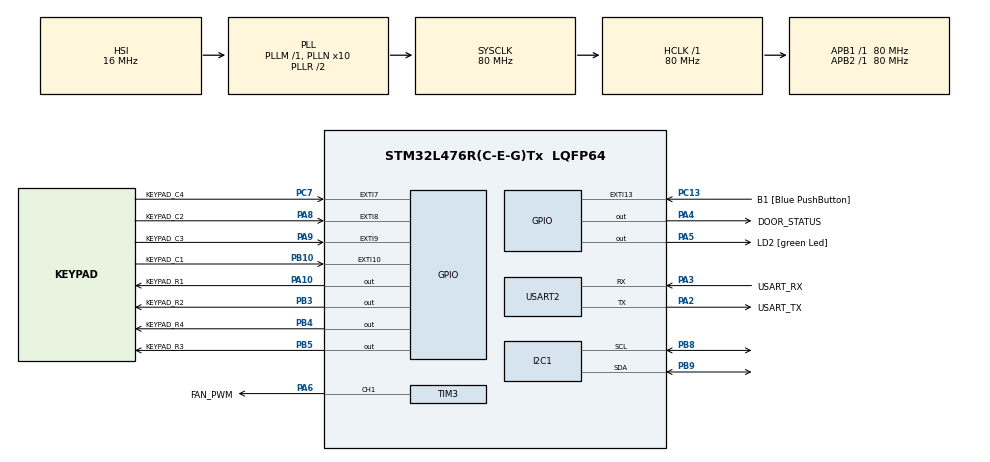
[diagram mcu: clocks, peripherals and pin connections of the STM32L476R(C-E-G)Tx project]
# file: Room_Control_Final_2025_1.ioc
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Dma.Request0=TIM3_CH1/TRIG
Dma.TIM3_CH1/TRIG.0.Direction=DMA_MEMORY_TO_PERIPH
Dma.TIM3_CH1/TRIG.0.Instance=DMA1_Channel6
Dma.TIM3_CH1/TRIG.0.MemDataAlignment=DMA_MDATAALIGN_HALFWORD
Dma.TIM3_CH1/TRIG.0.MemInc=DMA_MINC_ENABLE
Dma.TIM3_CH1/TRIG.0.Mode=DMA_NORMAL
Dma.TIM3_CH1/TRIG.0.PeriphDataAlignment=DMA_PDATAALIGN_HALFWORD
Dma.TIM3_CH1/TRIG.0.PeriphInc=DMA_PINC_DISABLE
Dma.TIM3_CH1/TRIG.0.Priority=DMA_PRIORITY_LOW
I2C1.Timing=0x10909CEC
Mcu.Family=STM32L4
Mcu.Name=STM32L476R(C-E-G)Tx
Mcu.Package=LQFP64
NVIC.DMA1_Channel6_IRQn=true\:0\:0\:false\:false\:true\:false\:true\:true
NVIC.EXTI15_10_IRQn=true\:0\:0\:false\:false\:true\:true\:true\:true
NVIC.EXTI9_5_IRQn=true\:0\:0\:false\:false\:true\:true\:true\:true
NVIC.PriorityGroup=NVIC_PRIORITYGROUP_4
NVIC.USART2_IRQn=true\:0\:0\:false\:false\:true\:true\:true\:true
PA10.GPIO_Label=KEYPAD_R1
PA10.Signal=GPIO_Output
PA13\ (JTMS-SWDIO).GPIO_Label=TMS
PA13\ (JTMS-SWDIO).Mode=Serial_Wire
PA13\ (JTMS-SWDIO).Signal=SYS_JTMS-SWDIO
PA14\ (JTCK-SWCLK).GPIO_Label=TCK
PA14\ (JTCK-SWCLK).Mode=Serial_Wire
PA14\ (JTCK-SWCLK).Signal=SYS_JTCK-SWCLK
PA2.GPIO_Label=USART_TX
PA2.GPIO_Mode=GPIO_MODE_AF_PP
PA2.GPIO_PuPd=GPIO_NOPULL
PA2.GPIO_Speed=GPIO_SPEED_FREQ_VERY_HIGH
PA2.Mode=Asynchronous
PA2.Signal=USART2_TX
PA3.GPIO_Label=USART_RX
PA3.GPIO_Mode=GPIO_MODE_AF_PP
PA3.GPIO_PuPd=GPIO_NOPULL
PA3.GPIO_Speed=GPIO_SPEED_FREQ_VERY_HIGH
PA3.Mode=Asynchronous
PA3.Signal=USART2_RX
PA4.GPIO_Label=DOOR_STATUS
PA4.Signal=GPIO_Output
PA5.GPIO_Label=LD2 [green Led]
PA5.GPIO_ModeDefaultOutputPP=GPIO_MODE_OUTPUT_PP
PA5.GPIO_PuPd=GPIO_NOPULL
PA5.GPIO_Speed=GPIO_SPEED_FREQ_LOW
PA5.Signal=GPIO_Output
PA6.GPIO_Label=FAN_PWM
PA6.Signal=S_TIM3_CH1
PA8.GPIO_Label=KEYPAD_C2
PA8.Signal=GPXTI8
PA9.GPIO_Label=KEYPAD_C3
PA9.Signal=GPXTI9
PB10.GPIO_Label=KEYPAD_C1
PB10.Signal=GPXTI10
PB3\ (JTDO-TRACESWO).GPIO_Label=KEYPAD_R2
PB3\ (JTDO-TRACESWO).Signal=GPIO_Output
PB4\ (NJTRST).GPIO_Label=KEYPAD_R4
PB4\ (NJTRST).Signal=GPIO_Output
PB5.GPIO_Label=KEYPAD_R3
PB5.Signal=GPIO_Output
PB8.Mode=I2C
PB8.Signal=I2C1_SCL
PB9.Mode=I2C
PB9.Signal=I2C1_SDA
PC13.GPIO_Label=B1 [Blue PushButton]
PC13.GPIO_ModeDefaultEXTI=GPIO_MODE_IT_FALLING
PC13.GPIO_PuPd=GPIO_NOPULL
PC13.Signal=GPXTI13
PC14-OSC32_IN\ (PC14).Mode=LSE-External-Oscillator
PC14-OSC32_IN\ (PC14).Signal=RCC_OSC32_IN
PC15-OSC32_OUT\ (PC15).Mode=LSE-External-Oscillator
PC15-OSC32_OUT\ (PC15).Signal=RCC_OSC32_OUT
PC7.GPIO_Label=KEYPAD_C4
PC7.Signal=GPXTI7
PH0-OSC_IN\ (PH0).Signal=RCC_OSC_IN
PH1-OSC_OUT\ (PH1).Signal=RCC_OSC_OUT
ProjectManager.HeapSize=0x200
ProjectManager.StackSize=0x400
ProjectManager.TargetToolchain=CMake
RCC.ADCFreq_Value=64000000
RCC.AHBFreq_Value=80000000
RCC.APB1Freq_Value=80000000
RCC.APB1TimFreq_Value=80000000
RCC.APB2Freq_Value=80000000
RCC.APB2TimFreq_Value=80000000
RCC.CortexFreq_Value=80000000
RCC.HCLKFreq_Value=80000000
RCC.HSE_VALUE=8000000
RCC.HSI_VALUE=16000000
RCC.MSI_VALUE=4000000
RCC.PLLN=10
RCC.PLLSourceVirtual=RCC_PLLSOURCE_HSI
RCC.PREFETCH_ENABLE=1
RCC.SYSCLKFreq_VALUE=80000000
RCC.SYSCLKSource=RCC_SYSCLKSOURCE_PLLCLK
RCC.USBFreq_Value=64000000
RCC.VCOOutputFreq_Value=160000000
SH.S_TIM3_CH1.0=TIM3_CH1,PWM Generation1 CH1
TIM3.Channel-PWM\ Generation1\ CH1=TIM_CHANNEL_1
TIM3.Period=100 - 1
TIM3.Prescaler=8000 - 1
USART2.VirtualMode-Asynchronous=VM_ASYNC
board=NUCLEO-L476RG

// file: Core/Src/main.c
/* USER CODE BEGIN Header */
/**
  ******************************************************************************
  * @file           : main.c
  * @brief          : Main program body
  ******************************************************************************
  * @attention
  *
  * Copyright (c) 2025 STMicroelectronics.
  * All rights reserved.
  *
  * This software is licensed under terms that can be found in the LICENSE file
  * in the root directory of this software component.
  * If no LICENSE file comes with this software, it is provided AS-IS.
  *
  ******************************************************************************
  */
/* USER CODE END Header */
#include "main.h"

/* USER CODE BEGIN Includes */
#include "led.h"
#include "keypad.h"
#include "room_control.h"
#include <stdio.h>
#include <stdlib.h> // Para rand() en la simulación
#include <stdbool.h>
#include "ssd1306.h"
#include "ssd1306_fonts.h"
#include "temp_sensor.h"
/* USER CODE END Includes */

/* USER CODE BEGIN PD */
#define UART_RX_BUFFER_SIZE 64
/* USER CODE END PD */

I2C_HandleTypeDef hi2c1;

TIM_HandleTypeDef htim3;
DMA_HandleTypeDef hdma_tim3_ch1_trig;

UART_HandleTypeDef huart2;
// ADC_HandleTypeDef hadc1; // Descomenta si usas ADC para el sensor de temperatura

/* USER CODE BEGIN PV */

// --- Instancia del sistema de control ---
room_control_t room_system;

// --- Variables para hardware y eventos ---
led_handle_t heartbeat_led = {
    .port = LD2_GPIO_Port,
    .pin = LD2_Pin
};

keypad_handle_t keypad = {
    .row_ports = {KEYPAD_R1_GPIO_Port, KEYPAD_R2_GPIO_Port, KEYPAD_R3_GPIO_Port, KEYPAD_R4_GPIO_Port},
    .row_pins  = {KEYPAD_R1_Pin, KEYPAD_R2_Pin, KEYPAD_R3_Pin, KEYPAD_R4_Pin},
    .col_ports = {KEYPAD_C1_GPIO_Port, KEYPAD_C2_GPIO_Port, KEYPAD_C3_GPIO_Port, KEYPAD_C4_GPIO_Port},
    .col_pins  = {KEYPAD_C1_Pin, KEYPAD_C2_Pin, KEYPAD_C3_Pin, KEYPAD_C4_Pin}
};
volatile uint16_t keypad_interrupt_pin = 0;

// --- Buffers y flags para comunicación UART no bloqueante ---
uint8_t uart_rx_byte;
uint8_t uart_rx_buffer[UART_RX_BUFFER_SIZE];
volatile uint8_t uart_rx_index = 0;
volatile bool uart_line_ready = false;

/* USER CODE END PV */

void SystemClock_Config(void);
static void MX_GPIO_Init(void);
static void MX_DMA_Init(void);
static void MX_USART2_UART_Init(void);
static void MX_I2C1_Init(void);
static void MX_TIM3_Init(void);
static void MX_ADC1_Init(void);
/* USER CODE BEGIN PFP */
void heartbeat(void);
/* USER CODE END PFP */

/* USER CODE BEGIN 0 */

// --- CALLBACKS DE INTERRUPCIÓN ---

void HAL_GPIO_EXTI_Callback(uint16_t GPIO_Pin)
{
  // Verifica si la interrupción proviene de alguno de los pines de columna del teclado
  if (GPIO_Pin == KEYPAD_C1_Pin || GPIO_Pin == KEYPAD_C2_Pin || GPIO_Pin == KEYPAD_C3_Pin || GPIO_Pin == KEYPAD_C4_Pin) {
    keypad_interrupt_pin = GPIO_Pin;
  }
}

void HAL_UART_RxCpltCallback(UART_HandleTypeDef *huart)
{
  if (huart->Instance == USART2) {
    if (uart_rx_index < UART_RX_BUFFER_SIZE - 1) {
      // Si el carácter es un salto de línea, la línea está completa
      if (uart_rx_byte == '\n') {
        uart_rx_buffer[uart_rx_index] = '\0'; // Terminar la cadena
        uart_line_ready = true;
        uart_rx_index = 0;
      } else {
        uart_rx_buffer[uart_rx_index++] = uart_rx_byte;
      }
    } else {
      // Buffer overflow, reiniciar el índice
      uart_rx_index = 0;
    }
    // Reactivar la recepción de 1 byte por interrupción
    HAL_UART_Receive_IT(&huart2, &uart_rx_byte, 1);
  }
}

void heartbeat(void)
{
  static uint32_t last_toggle = 0;
  if (HAL_GetTick() - last_toggle >= 500) { // Toggle every 500 ms
    led_toggle(&heartbeat_led); // Toggle the heartbeat LED
    last_toggle = HAL_GetTick();
  }
}

/* USER CODE END 0 */

int main(void)
{

  /* MCU Configuration--------------------------------------------------------*/

  /* Reset of all peripherals, Initializes the Flash interface and the Systick. */
  HAL_Init();

  /* Configure the system clock */
  SystemClock_Config();

  /* Initialize all configured peripherals */
  MX_GPIO_Init();
  MX_DMA_Init();
  MX_USART2_UART_Init();
  MX_I2C1_Init();
  MX_TIM3_Init();
  // MX_ADC1_Init(); // Descomenta si usas ADC

  /* USER CODE BEGIN 2 */

  // --- INICIALIZACIÓN DE MÓDULOS Y DRIVERS ---
  led_init(&heartbeat_led);
  ssd1306_Init();
  keypad_init(&keypad);
  temp_sensor_init(&hadc1);

  // Inicializa el módulo de control principal, pasándole el handle del timer del ventilador
  room_control_init(&room_system, &htim3);

  // Iniciar recepción UART por interrupción (1 byte a la vez)
  HAL_UART_Receive_IT(&huart2, &uart_rx_byte, 1);

  // Mensaje de bienvenida a la consola de depuración
  HAL_UART_Transmit(&huart2, (uint8_t *)"Sistema de Control de Sala Iniciado\r\n", 37, HAL_MAX_DELAY);

  // (Opcional) Iniciar el ADC para el sensor de temperatura
  // HAL_ADC_Start(&hadc1);

  /* USER CODE END 2 */

  /* Infinite loop */
  /* USER CODE BEGIN WHILE */
  uint32_t last_temp_read_time = 0;

  while (1) {
    heartbeat(); // Llama al parpadeo del LED de estado

    // 1. GESTIONAR ENTRADAS ASÍNCRONAS (EVENTOS)
    // Evento: Se presionó una tecla del teclado matricial
    if (keypad_interrupt_pin != 0) {
      char key = keypad_scan(&keypad, keypad_interrupt_pin);
      keypad_interrupt_pin = 0; // Limpiar el flag de interrupción
      if (key != '\0') {
        room_control_process_key(&room_system, key);
      }
    }

    // Evento: Se recibió una línea completa por UART
    if (uart_line_ready) {
      room_control_process_command(&room_system, (char*)uart_rx_buffer);
      uart_line_ready = false; // Consumir el evento
    }

    // 2. GESTIONAR TAREAS PERIÓDICAS (NO BLOQUEANTES)
    if (HAL_GetTick() - last_temp_read_time >= 2000) { // Cada 2 segundos
        last_temp_read_time = HAL_GetTick();

        // --- LECTURA DE TEMPERATURA USANDO EL MÓDULO ---
        float current_temp = temp_sensor_read();
        room_control_set_temperature(&room_system, current_temp);
    }

    // 3. ACTUALIZAR EL ESTADO DEL SISTEMA
    // Esta función maneja los timeouts y actualiza la pantalla si es necesario.
    room_control_update(&room_system);

    /* USER CODE END WHILE */

  }
}

void SystemClock_Config(void)
{
  RCC_OscInitTypeDef RCC_OscInitStruct = {0};
  RCC_ClkInitTypeDef RCC_ClkInitStruct = {0};

  /** Configure the main internal regulator output voltage
  */
  if (HAL_PWREx_ControlVoltageScaling(PWR_REGULATOR_VOLTAGE_SCALE1) != HAL_OK)
  {
    Error_Handler();
  }

  /** Initializes the RCC Oscillators according to the specified parameters
  * in the RCC_OscInitTypeDef structure.
  */
  RCC_OscInitStruct.OscillatorType = RCC_OSCILLATORTYPE_HSI;
  RCC_OscInitStruct.HSIState = RCC_HSI_ON;
  RCC_OscInitStruct.HSICalibrationValue = RCC_HSICALIBRATION_DEFAULT;
  RCC_OscInitStruct.PLL.PLLState = RCC_PLL_ON;
  RCC_OscInitStruct.PLL.PLLSource = RCC_PLLSOURCE_HSI;
  RCC_OscInitStruct.PLL.PLLM = 1;
  RCC_OscInitStruct.PLL.PLLN = 10;
  RCC_OscInitStruct.PLL.PLLP = RCC_PLLP_DIV7;
  RCC_OscInitStruct.PLL.PLLQ = RCC_PLLQ_DIV2;
  RCC_OscInitStruct.PLL.PLLR = RCC_PLLR_DIV2;
  if (HAL_RCC_OscConfig(&RCC_OscInitStruct) != HAL_OK)
  {
    Error_Handler();
  }

  /** Initializes the CPU, AHB and APB buses clocks
  */
  RCC_ClkInitStruct.ClockType = RCC_CLOCKTYPE_HCLK|RCC_CLOCKTYPE_SYSCLK
                              |RCC_CLOCKTYPE_PCLK1|RCC_CLOCKTYPE_PCLK2;
  RCC_ClkInitStruct.SYSCLKSource = RCC_SYSCLKSOURCE_PLLCLK;
  RCC_ClkInitStruct.AHBCLKDivider = RCC_SYSCLK_DIV1;
  RCC_ClkInitStruct.APB1CLKDivider = RCC_HCLK_DIV1;
  RCC_ClkInitStruct.APB2CLKDivider = RCC_HCLK_DIV1;

  if (HAL_RCC_ClockConfig(&RCC_ClkInitStruct, FLASH_LATENCY_4) != HAL_OK)
  {
    Error_Handler();
  }
}

static void MX_I2C1_Init(void)
{

  hi2c1.Instance = I2C1;
  hi2c1.Init.Timing = 0x10909CEC;
  hi2c1.Init.OwnAddress1 = 0;
  hi2c1.Init.AddressingMode = I2C_ADDRESSINGMODE_7BIT;
  hi2c1.Init.DualAddressMode = I2C_DUALADDRESS_DISABLE;
  hi2c1.Init.OwnAddress2 = 0;
  hi2c1.Init.OwnAddress2Masks = I2C_OA2_NOMASK;
  hi2c1.Init.GeneralCallMode = I2C_GENERALCALL_DISABLE;
  hi2c1.Init.NoStretchMode = I2C_NOSTRETCH_DISABLE;
  if (HAL_I2C_Init(&hi2c1) != HAL_OK)
  {
    Error_Handler();
  }

  /** Configure Analogue filter
  */
  if (HAL_I2CEx_ConfigAnalogFilter(&hi2c1, I2C_ANALOGFILTER_ENABLE) != HAL_OK)
  {
    Error_Handler();
  }

  /** Configure Digital filter
  */
  if (HAL_I2CEx_ConfigDigitalFilter(&hi2c1, 0) != HAL_OK)
  {
    Error_Handler();
  }

}

static void MX_TIM3_Init(void)
{

  TIM_MasterConfigTypeDef sMasterConfig = {0};
  TIM_OC_InitTypeDef sConfigOC = {0};

  htim3.Instance = TIM3;
  htim3.Init.Prescaler = 80 - 1; // Prescaler ajustado para una mejor resolución de PWM con clock de 80MHz
  htim3.Init.CounterMode = TIM_COUNTERMODE_UP;
  htim3.Init.Period = 1000 - 1; // Período de 1000 para un control porcentual más fácil (0-999)
  htim3.Init.ClockDivision = TIM_CLOCKDIVISION_DIV1;
  htim3.Init.AutoReloadPreload = TIM_AUTORELOAD_PRELOAD_ENABLE; // Habilitar preload para cambios de PWM suaves
  if (HAL_TIM_PWM_Init(&htim3) != HAL_OK)
  {
    Error_Handler();
  }
  sMasterConfig.MasterOutputTrigger = TIM_TRGO_RESET;
  sMasterConfig.MasterSlaveMode = TIM_MASTERSLAVEMODE_DISABLE;
  if (HAL_TIMEx_MasterConfigSynchronization(&htim3, &sMasterConfig) != HAL_OK)
  {
    Error_Handler();
  }
  sConfigOC.OCMode = TIM_OCMODE_PWM1;
  sConfigOC.Pulse = 0;
  sConfigOC.OCPolarity = TIM_OCPOLARITY_HIGH;
  sConfigOC.OCFastMode = TIM_OCFAST_DISABLE;
  if (HAL_TIM_PWM_ConfigChannel(&htim3, &sConfigOC, TIM_CHANNEL_1) != HAL_OK)
  {
    Error_Handler();
  }
  HAL_TIM_MspPostInit(&htim3);

}

static void MX_USART2_UART_Init(void)
{

  huart2.Instance = USART2;
  huart2.Init.BaudRate = 115200;
  huart2.Init.WordLength = UART_WORDLENGTH_8B;
  huart2.Init.StopBits = UART_STOPBITS_1;
  huart2.Init.Parity = UART_PARITY_NONE;
  huart2.Init.Mode = UART_MODE_TX_RX;
  huart2.Init.HwFlowCtl = UART_HWCONTROL_NONE;
  huart2.Init.OverSampling = UART_OVERSAMPLING_16;
  huart2.Init.OneBitSampling = UART_ONE_BIT_SAMPLE_DISABLE;
  huart2.AdvancedInit.AdvFeatureInit = UART_ADVFEATURE_NO_INIT;
  if (HAL_UART_Init(&huart2) != HAL_OK)
  {
    Error_Handler();
  }

}

static void MX_DMA_Init(void)
{

  /* DMA controller clock enable */
  __HAL_RCC_DMA1_CLK_ENABLE();

  /* DMA interrupt init */
  /* DMA1_Channel6_IRQn interrupt configuration */
  HAL_NVIC_SetPriority(DMA1_Channel6_IRQn, 0, 0);
  HAL_NVIC_EnableIRQ(DMA1_Channel6_IRQn);

}

static void MX_GPIO_Init(void)
{
  GPIO_InitTypeDef GPIO_InitStruct = {0};

  /* GPIO Ports Clock Enable */
  __HAL_RCC_GPIOC_CLK_ENABLE();
  __HAL_RCC_GPIOH_CLK_ENABLE();
  __HAL_RCC_GPIOA_CLK_ENABLE();
  __HAL_RCC_GPIOB_CLK_ENABLE();

  /*Configure GPIO pin Output Level */
  HAL_GPIO_WritePin(GPIOA, DOOR_STATUS_Pin|LD2_Pin|KEYPAD_R1_Pin, GPIO_PIN_RESET);

  /*Configure GPIO pin Output Level */
  HAL_GPIO_WritePin(GPIOB, KEYPAD_R2_Pin|KEYPAD_R4_Pin|KEYPAD_R3_Pin, GPIO_PIN_RESET);

  /*Configure GPIO pin : B1_Pin */
  GPIO_InitStruct.Pin = B1_Pin;
  GPIO_InitStruct.Mode = GPIO_MODE_IT_FALLING;
  GPIO_InitStruct.Pull = GPIO_NOPULL;
  HAL_GPIO_Init(B1_GPIO_Port, &GPIO_InitStruct);

  /*Configure GPIO pins : DOOR_STATUS_Pin LD2_Pin KEYPAD_R1_Pin */
  GPIO_InitStruct.Pin = DOOR_STATUS_Pin|LD2_Pin|KEYPAD_R1_Pin;
  GPIO_InitStruct.Mode = GPIO_MODE_OUTPUT_PP;
  GPIO_InitStruct.Pull = GPIO_NOPULL;
  GPIO_InitStruct.Speed = GPIO_SPEED_FREQ_LOW;
  HAL_GPIO_Init(GPIOA, &GPIO_InitStruct);

  /*Configure GPIO pin : KEYPAD_C1_Pin */
  GPIO_InitStruct.Pin = KEYPAD_C1_Pin;
  GPIO_InitStruct.Mode = GPIO_MODE_IT_RISING;
  GPIO_InitStruct.Pull = GPIO_PULLDOWN; // Cambiado a PULLDOWN
  HAL_GPIO_Init(KEYPAD_C1_GPIO_Port, &GPIO_InitStruct);

  /*Configure GPIO pin : KEYPAD_C4_Pin */
  GPIO_InitStruct.Pin = KEYPAD_C4_Pin;
  GPIO_InitStruct.Mode = GPIO_MODE_IT_RISING;
  GPIO_InitStruct.Pull = GPIO_PULLDOWN; // Cambiado a PULLDOWN
  HAL_GPIO_Init(KEYPAD_C4_GPIO_Port, &GPIO_InitStruct);

  /*Configure GPIO pins : KEYPAD_C2_Pin KEYPAD_C3_Pin */
  GPIO_InitStruct.Pin = KEYPAD_C2_Pin|KEYPAD_C3_Pin;
  GPIO_InitStruct.Mode = GPIO_MODE_IT_RISING;
  GPIO_InitStruct.Pull = GPIO_PULLDOWN; // Cambiado a PULLDOWN
  HAL_GPIO_Init(GPIOA, &GPIO_InitStruct);

  /*Configure GPIO pins : KEYPAD_R2_Pin KEYPAD_R4_Pin KEYPAD_R3_Pin */
  GPIO_InitStruct.Pin = KEYPAD_R2_Pin|KEYPAD_R4_Pin|KEYPAD_R3_Pin;
  GPIO_InitStruct.Mode = GPIO_MODE_OUTPUT_PP;
  GPIO_InitStruct.Pull = GPIO_NOPULL;
  GPIO_InitStruct.Speed = GPIO_SPEED_FREQ_LOW;
  HAL_GPIO_Init(GPIOB, &GPIO_InitStruct);

  /* EXTI interrupt init*/
  HAL_NVIC_SetPriority(EXTI9_5_IRQn, 0, 0);
  HAL_NVIC_EnableIRQ(EXTI9_5_IRQn);

  HAL_NVIC_SetPriority(EXTI15_10_IRQn, 0, 0);
  HAL_NVIC_EnableIRQ(EXTI15_10_IRQn);

}

void Error_Handler(void)
{
  __disable_irq();
  while (1)
  {
  }
}
